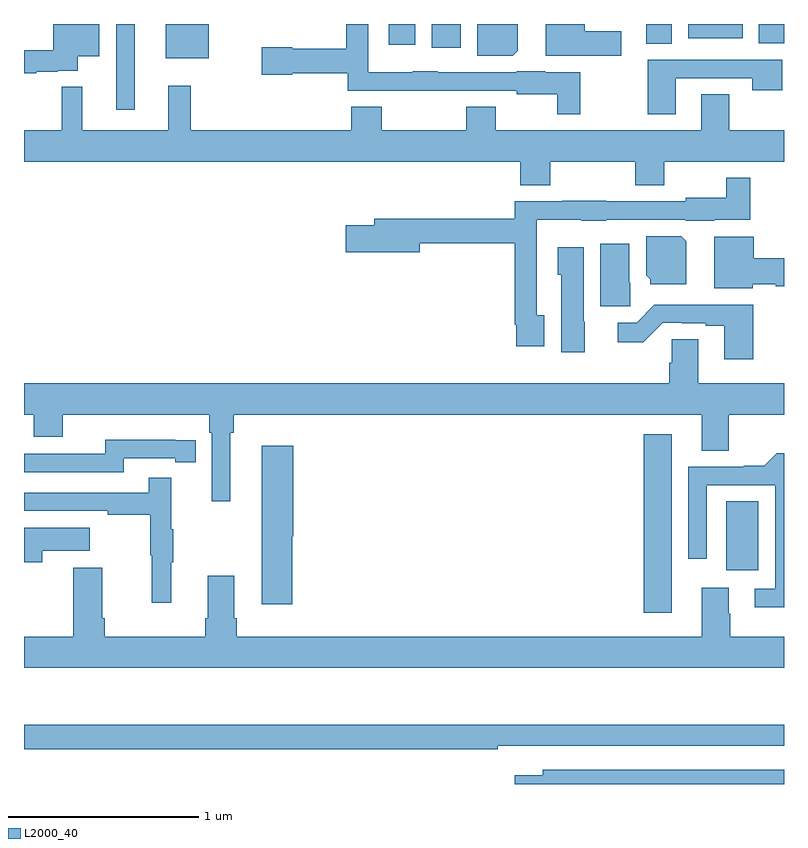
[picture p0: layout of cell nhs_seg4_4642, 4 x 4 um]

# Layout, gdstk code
import gdstk
lib = gdstk.Library(unit=1e-6, precision=1e-09)
def R(c, l, rs):  # rectangles x0, y0, x1, y1
    for r in rs: c.add(gdstk.rectangle(r[:2], r[2:], *l))
def P(c, l, *ps):  # polygons
    for p in ps: c.add(gdstk.Polygon(p, *l))
L2000_40 = (2000, 40)

nhs_seg4_4642 = lib.new_cell('nhs_seg4_4642')
R(nhs_seg4_4642, L2000_40, [(364.262,771.801,364.408,772.741), (364.697,772.026,364.864,772.388), (361.485,774.45,361.582,774.9), (361.745,774.719,361.972,774.9), (363.146,774.774,363.298,774.9), (362.921,774.792,363.058,774.9), (364.274,774.796,364.408,774.9), (364.868,774.8,365,774.9), (364.496,774.824,364.783,774.9)])
P(nhs_seg4_4642, L2000_40, [(363.598,774.76),(363.598,774.9),(363.386,774.9),(363.386,774.734),(363.572,774.734)],
  [(363.928,774.646),(363.744,774.646),(363.744,774.652),(363.594,774.652),(363.594,774.645),(363.177,774.645),(363.177,774.652),(363.045,774.652),(363.045,774.646),(362.811,774.646),(362.811,774.9),(362.695,774.9),(362.695,774.77),(362.412,774.77),(362.412,774.778),(362.25,774.778),(362.25,774.634),(362.412,774.634),(362.412,774.642),(362.703,774.642),(362.703,774.549),(362.945,774.549),(362.945,774.548),(363.177,774.548),(363.177,774.549),(363.594,774.549),(363.594,774.53),(363.807,774.53),(363.807,774.425),(363.928,774.425)],
  [(364.144,774.862),(363.952,774.862),(363.952,774.9),(363.746,774.9),(363.746,774.734),(363.948,774.734),(363.948,774.733),(364.144,774.733)],
  [(361.064,774.648),(361.178,774.648),(361.178,774.654),(361.282,774.654),(361.282,774.731),(361.396,774.731),(361.396,774.9),(361.153,774.9),(361.153,774.763),(361,774.763),(361,774.642),(361.064,774.642)],
  [(364.429,774.615),(364.834,774.615),(364.834,774.552),(364.99,774.552),(364.99,774.711),(364.282,774.711),(364.282,774.426),(364.429,774.426)],
  [(363.771,774.176),(364.216,774.176),(364.216,774.052),(364.371,774.052),(364.371,774.176),(365,774.176),(365,774.34),(364.713,774.34),(364.713,774.53),(364.565,774.53),(364.565,774.34),(363.483,774.34),(363.483,774.464),(363.328,774.464),(363.328,774.34),(362.883,774.34),(362.883,774.464),(362.723,774.464),(362.723,774.34),(361.877,774.34),(361.877,774.574),(361.76,774.574),(361.76,774.34),(361.307,774.34),(361.307,774.569),(361.198,774.569),(361.198,774.34),(361,774.34),(361,774.176),(363.611,774.176),(363.611,774.052),(363.771,774.052)],
  [(363.739,773.366),(363.699,773.366),(363.699,773.87),(363.933,773.87),(363.933,773.864),(364.065,773.864),(364.065,773.871),(364.482,773.871),(364.482,773.864),(364.632,773.864),(364.632,773.87),(364.823,773.87),(364.823,774.091),(364.695,774.091),(364.695,773.986),(364.482,773.986),(364.482,773.967),(364.065,773.967),(364.065,773.969),(363.833,773.969),(363.833,773.967),(363.583,773.967),(363.583,773.875),(362.843,773.875),(362.843,773.841),(362.694,773.841),(362.694,773.699),(363.082,773.699),(363.082,773.746),(363.583,773.746),(363.583,773.317),(363.591,773.317),(363.591,773.205),(363.739,773.205)],
  [(364.486,773.756),(364.46,773.782),(364.274,773.782),(364.274,773.578),(364.296,773.556),(364.296,773.531),(364.486,773.531)],
  [(364.836,773.531),(364.956,773.531),(364.956,773.519),(365,773.519),(365,773.666),(364.84,773.666),(364.84,773.78),(364.634,773.78),(364.634,773.51),(364.836,773.51)],
  [(364.19,773.538),(364.186,773.538),(364.186,773.743),(364.034,773.743),(364.034,773.415),(364.19,773.415)],
  [(363.952,773.334),(363.946,773.334),(363.946,773.725),(363.809,773.725),(363.809,773.58),(363.827,773.58),(363.827,773.172),(363.952,773.172)],
  [(364.838,773.422),(364.318,773.422),(364.224,773.328),(364.125,773.328),(364.125,773.226),(364.26,773.226),(364.362,773.328),(364.462,773.328),(364.462,773.325),(364.589,773.325),(364.589,773.313),(364.685,773.313),(364.685,773.136),(364.838,773.136)],
  [(364.549,773.24),(364.41,773.24),(364.41,773.118),(364.397,773.118),(364.397,773.008),(361,773.008),(361,772.844),(361.052,772.844),(361.052,772.727),(361.204,772.727),(361.204,772.844),(361.976,772.844),(361.976,772.748),(361.989,772.748),(361.989,772.389),(362.086,772.389),(362.086,772.748),(362.105,772.748),(362.105,772.844),(364.568,772.844),(364.568,772.654),(364.708,772.654),(364.708,772.844),(365,772.844),(365,773.008),(364.549,773.008)],
  [(361.524,772.614),(361.796,772.614),(361.796,772.594),(361.904,772.594),(361.904,772.71),(361.796,772.71),(361.796,772.711),(361.428,772.711),(361.428,772.638),(361,772.638),(361,772.542),(361.524,772.542)],
  [(362.411,772.203),(362.416,772.203),(362.416,772.681),(362.252,772.681),(362.252,771.846),(362.411,771.846)],
  [(365,772.64),(364.961,772.64),(364.895,772.574),(364.787,772.574),(364.787,772.569),(364.497,772.569),(364.497,772.086),(364.593,772.086),(364.593,772.473),(364.953,772.473),(364.953,771.927),(364.845,771.927),(364.845,771.83),(365,771.83)],
  [(361.775,772.067),(361.786,772.067),(361.786,772.241),(361.775,772.241),(361.775,772.513),(361.657,772.513),(361.657,772.434),(361,772.434),(361,772.338),(361.441,772.338),(361.441,772.318),(361.665,772.318),(361.665,772.104),(361.672,772.104),(361.672,771.855),(361.775,771.855)],
  [(361.097,772.127),(361.345,772.127),(361.345,772.249),(361,772.249),(361,772.068),(361.097,772.068)],
  [(365,771.676),(364.716,771.676),(364.716,771.797),(364.708,771.797),(364.708,771.934),(364.568,771.934),(364.568,771.676),(362.12,771.676),(362.12,771.772),(362.107,771.772),(362.107,771.997),(361.967,771.997),(361.967,771.772),(361.955,771.772),(361.955,771.676),(361.424,771.676),(361.424,771.772),(361.411,771.772),(361.411,772.039),(361.259,772.039),(361.259,771.676),(361,771.676),(361,771.512),(365,771.512)],
  [(363.494,771.102),(365,771.102),(365,771.211),(361,771.211),(361,771.082),(363.494,771.082)],
  [(365,770.976),(363.731,770.976),(363.731,770.947),(363.582,770.947),(363.582,770.9),(365,770.9)])

lib.write_gds('nhs_seg4_4642.gds')
